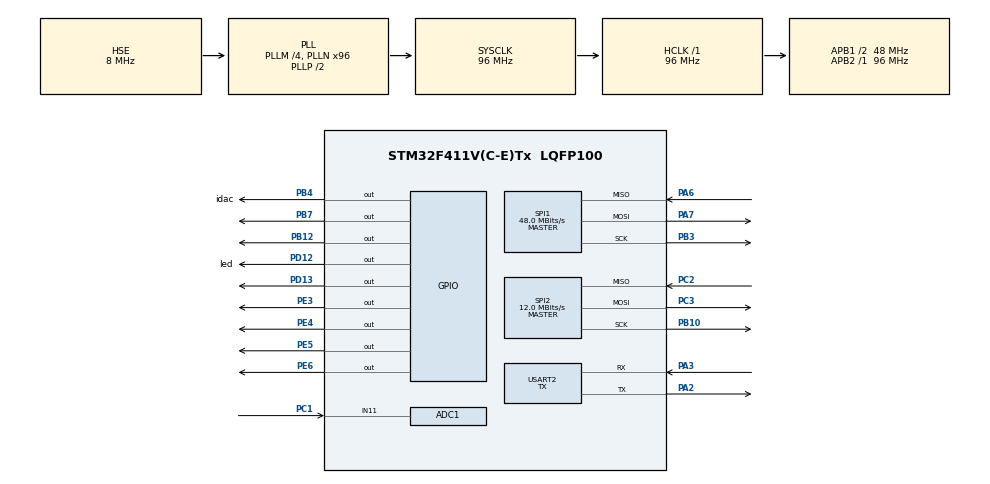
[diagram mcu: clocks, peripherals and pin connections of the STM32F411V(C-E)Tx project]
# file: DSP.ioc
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ADC1.Channel-1\#ChannelRegularConversion=ADC_CHANNEL_11
ADC1.NbrOfConversionFlag=1
ADC1.Rank-1\#ChannelRegularConversion=1
ADC1.SamplingTime-1\#ChannelRegularConversion=ADC_SAMPLETIME_3CYCLES
ADC1.master=1
Mcu.Family=STM32F4
Mcu.Name=STM32F411V(C-E)Tx
Mcu.Package=LQFP100
NVIC.PriorityGroup=NVIC_PRIORITYGROUP_4
NVIC.SPI2_IRQn=true\:0\:0\:false\:false\:true\:true\:true\:true
NVIC.TIM3_IRQn=true\:0\:0\:false\:false\:true\:true\:true\:true
PA13.Mode=Serial_Wire
PA13.Signal=SYS_JTMS-SWDIO
PA14.Mode=Serial_Wire
PA14.Signal=SYS_JTCK-SWCLK
PA2.Mode=Asynchronous
PA2.Signal=USART2_TX
PA3.Mode=Asynchronous
PA3.Signal=USART2_RX
PA6.Mode=Full_Duplex_Master
PA6.Signal=SPI1_MISO
PA7.Mode=Full_Duplex_Master
PA7.Signal=SPI1_MOSI
PB10.Mode=Full_Duplex_Master
PB10.Signal=SPI2_SCK
PB12.Signal=GPIO_Output
PB3.Mode=Full_Duplex_Master
PB3.Signal=SPI1_SCK
PB4.GPIO_Label=idac
PB4.Signal=GPIO_Output
PB7.Signal=GPIO_Output
PC1.Signal=ADCx_IN11
PC14-OSC32_IN.Mode=LSE-External-Oscillator
PC14-OSC32_IN.Signal=RCC_OSC32_IN
PC15-OSC32_OUT.Mode=LSE-External-Oscillator
PC15-OSC32_OUT.Signal=RCC_OSC32_OUT
PC2.Mode=Full_Duplex_Master
PC2.Signal=SPI2_MISO
PC3.Mode=Full_Duplex_Master
PC3.Signal=SPI2_MOSI
PD12.GPIO_Label=led
PD12.Signal=GPIO_Output
PD13.Signal=GPIO_Output
PE3.Signal=GPIO_Output
PE4.Signal=GPIO_Output
PE5.Signal=GPIO_Output
PE6.Signal=GPIO_Output
PH0\ -\ OSC_IN.Mode=HSE-External-Oscillator
PH0\ -\ OSC_IN.Signal=RCC_OSC_IN
PH1\ -\ OSC_OUT.Mode=HSE-External-Oscillator
PH1\ -\ OSC_OUT.Signal=RCC_OSC_OUT
ProjectManager.HeapSize=0x200
ProjectManager.StackSize=0x400
ProjectManager.TargetToolchain=STM32CubeIDE
RCC.48MHZClocksFreq_Value=48000000
RCC.AHBFreq_Value=96000000
RCC.APB1CLKDivider=RCC_HCLK_DIV2
RCC.APB1Freq_Value=48000000
RCC.APB1TimFreq_Value=96000000
RCC.APB2Freq_Value=96000000
RCC.APB2TimFreq_Value=96000000
RCC.CortexFreq_Value=96000000
RCC.HCLKFreq_Value=96000000
RCC.HSE_VALUE=8000000
RCC.HSI_VALUE=16000000
RCC.PLLM=4
RCC.PLLN=96
RCC.PLLSourceVirtual=RCC_PLLSOURCE_HSE
RCC.SYSCLKFreq_VALUE=96000000
RCC.SYSCLKSource=RCC_SYSCLKSOURCE_PLLCLK
RCC.VCOOutputFreq_Value=192000000
SH.ADCx_IN11.0=ADC1_IN11,IN11
SPI1.CalculateBaudRate=48.0 MBits/s
SPI1.Direction=SPI_DIRECTION_2LINES
SPI1.Mode=SPI_MODE_MASTER
SPI1.VirtualType=VM_MASTER
SPI2.BaudRatePrescaler=SPI_BAUDRATEPRESCALER_4
SPI2.CalculateBaudRate=12.0 MBits/s
SPI2.Direction=SPI_DIRECTION_2LINES
SPI2.Mode=SPI_MODE_MASTER
SPI2.VirtualType=VM_MASTER
TIM3.Period=2000-1
TIM3.Prescaler=2-1
USART2.Mode=MODE_TX
USART2.VirtualMode=VM_ASYNC
VP_TIM3_VS_ClockSourceINT.Mode=Internal
board=custom

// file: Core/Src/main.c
/* USER CODE BEGIN Header */
/**
  ******************************************************************************
  * @file           : main.c
  * @brief          : Main program body
  ******************************************************************************
  * @attention
  *
  * Copyright (c) 2022 STMicroelectronics.
  * All rights reserved.
  *
  * This software is licensed under terms that can be found in the LICENSE file
  * in the root directory of this software component.
  * If no LICENSE file comes with this software, it is provided AS-IS.
  *
  ******************************************************************************
  */
/* USER CODE END Header */
#include "main.h"

/* USER CODE BEGIN Includes */
#include "header.h"
#include  <math.h>
/* USER CODE END Includes */

/* USER CODE BEGIN PTD */
//void Put_DA(unsigned char channel,unsigned short load);
//uint32_t DWT_Delay_Init(void);
//__STATIC_INLINE void DWT_Delay_us(volatile uint32_t au32_microseconds);
//void Put__DA(unsigned short chan_A,unsigned short chan_B);
/* USER CODE END PTD */

ADC_HandleTypeDef hadc1;

SPI_HandleTypeDef hspi1;
SPI_HandleTypeDef hspi2;

TIM_HandleTypeDef htim3;

UART_HandleTypeDef huart2;

/* USER CODE BEGIN PV */
float cosinus[BUFFERSIZE];
float sinus[BUFFERSIZE];
float window[BUFFERSIZE];
char flag = 0;

int adc_values[BUFFERSIZE];
/* USER CODE END PV */

void SystemClock_Config(void);
static void MX_GPIO_Init(void);
static void MX_USART2_UART_Init(void);
static void MX_TIM3_Init(void);
static void MX_ADC1_Init(void);
static void MX_SPI1_Init(void);
static void MX_SPI2_Init(void);

int main(void)
{
  /* USER CODE BEGIN 1 */
	CreateWaves();
  /* USER CODE END 1 */

  /* MCU Configuration--------------------------------------------------------*/

  /* Reset of all peripherals, Initializes the Flash interface and the Systick. */
  HAL_Init();

  /* Configure the system clock */
  SystemClock_Config();

  /* Initialize all configured peripherals */
  MX_GPIO_Init();
  MX_USART2_UART_Init();
  MX_TIM3_Init();
  MX_ADC1_Init();
  MX_SPI1_Init();
  MX_SPI2_Init();
  /* USER CODE BEGIN 2 */

  // ADC start
  HAL_ADC_Start(&hadc1);

  HAL_TIM_Base_Start_IT(&htim3);

  Set_sample_frequency(TIMERFREQ);

  UART_string("Ended startup \n");
  // Timer start
  /* USER CODE END 2 */

  /* Infinite loop */
  while (1)
  {

    /* USER CODE BEGIN 3 */
	HAL_Delay(10);
	SPI_send_byte();
	if(flag)
	{
		flag = 0;
//		callFFT(adc_values, magnitude, BUFFERSIZE);
//		DFT();
//		unsigned char byte = 14;
//		HAL_SPI_Transmit_IT(&hspi2, &byte, 1);
//		SPI_send_byte();
	}
  }
  /* USER CODE END 3 */
}

void SystemClock_Config(void)
{
  RCC_OscInitTypeDef RCC_OscInitStruct = {0};
  RCC_ClkInitTypeDef RCC_ClkInitStruct = {0};

  /** Configure the main internal regulator output voltage
  */
  __HAL_RCC_PWR_CLK_ENABLE();
  __HAL_PWR_VOLTAGESCALING_CONFIG(PWR_REGULATOR_VOLTAGE_SCALE1);

  /** Initializes the RCC Oscillators according to the specified parameters
  * in the RCC_OscInitTypeDef structure.
  */
  RCC_OscInitStruct.OscillatorType = RCC_OSCILLATORTYPE_HSE;
  RCC_OscInitStruct.HSEState = RCC_HSE_ON;
  RCC_OscInitStruct.PLL.PLLState = RCC_PLL_ON;
  RCC_OscInitStruct.PLL.PLLSource = RCC_PLLSOURCE_HSE;
  RCC_OscInitStruct.PLL.PLLM = 4;
  RCC_OscInitStruct.PLL.PLLN = 96;
  RCC_OscInitStruct.PLL.PLLP = RCC_PLLP_DIV2;
  RCC_OscInitStruct.PLL.PLLQ = 4;
  if (HAL_RCC_OscConfig(&RCC_OscInitStruct) != HAL_OK)
  {
    Error_Handler();
  }

  /** Initializes the CPU, AHB and APB buses clocks
  */
  RCC_ClkInitStruct.ClockType = RCC_CLOCKTYPE_HCLK|RCC_CLOCKTYPE_SYSCLK
                              |RCC_CLOCKTYPE_PCLK1|RCC_CLOCKTYPE_PCLK2;
  RCC_ClkInitStruct.SYSCLKSource = RCC_SYSCLKSOURCE_PLLCLK;
  RCC_ClkInitStruct.AHBCLKDivider = RCC_SYSCLK_DIV1;
  RCC_ClkInitStruct.APB1CLKDivider = RCC_HCLK_DIV2;
  RCC_ClkInitStruct.APB2CLKDivider = RCC_HCLK_DIV1;

  if (HAL_RCC_ClockConfig(&RCC_ClkInitStruct, FLASH_LATENCY_3) != HAL_OK)
  {
    Error_Handler();
  }
}

static void MX_ADC1_Init(void)
{

  ADC_ChannelConfTypeDef sConfig = {0};

  /** Configure the global features of the ADC (Clock, Resolution, Data Alignment and number of conversion)
  */
  hadc1.Instance = ADC1;
  hadc1.Init.ClockPrescaler = ADC_CLOCK_SYNC_PCLK_DIV4;
  hadc1.Init.Resolution = ADC_RESOLUTION_12B;
  hadc1.Init.ScanConvMode = DISABLE;
  hadc1.Init.ContinuousConvMode = DISABLE;
  hadc1.Init.DiscontinuousConvMode = DISABLE;
  hadc1.Init.ExternalTrigConvEdge = ADC_EXTERNALTRIGCONVEDGE_NONE;
  hadc1.Init.ExternalTrigConv = ADC_SOFTWARE_START;
  hadc1.Init.DataAlign = ADC_DATAALIGN_RIGHT;
  hadc1.Init.NbrOfConversion = 1;
  hadc1.Init.DMAContinuousRequests = DISABLE;
  hadc1.Init.EOCSelection = ADC_EOC_SINGLE_CONV;
  if (HAL_ADC_Init(&hadc1) != HAL_OK)
  {
    Error_Handler();
  }

  /** Configure for the selected ADC regular channel its corresponding rank in the sequencer and its sample time.
  */
  sConfig.Channel = ADC_CHANNEL_11;
  sConfig.Rank = 1;
  sConfig.SamplingTime = ADC_SAMPLETIME_3CYCLES;
  if (HAL_ADC_ConfigChannel(&hadc1, &sConfig) != HAL_OK)
  {
    Error_Handler();
  }

}

static void MX_SPI1_Init(void)
{

  /* SPI1 parameter configuration*/
  hspi1.Instance = SPI1;
  hspi1.Init.Mode = SPI_MODE_MASTER;
  hspi1.Init.Direction = SPI_DIRECTION_2LINES;
  hspi1.Init.DataSize = SPI_DATASIZE_8BIT;
  hspi1.Init.CLKPolarity = SPI_POLARITY_LOW;
  hspi1.Init.CLKPhase = SPI_PHASE_1EDGE;
  hspi1.Init.NSS = SPI_NSS_SOFT;
  hspi1.Init.BaudRatePrescaler = SPI_BAUDRATEPRESCALER_2;
  hspi1.Init.FirstBit = SPI_FIRSTBIT_MSB;
  hspi1.Init.TIMode = SPI_TIMODE_DISABLE;
  hspi1.Init.CRCCalculation = SPI_CRCCALCULATION_DISABLE;
  hspi1.Init.CRCPolynomial = 10;
  if (HAL_SPI_Init(&hspi1) != HAL_OK)
  {
    Error_Handler();
  }

}

static void MX_SPI2_Init(void)
{

  /* SPI2 parameter configuration*/
  hspi2.Instance = SPI2;
  hspi2.Init.Mode = SPI_MODE_MASTER;
  hspi2.Init.Direction = SPI_DIRECTION_2LINES;
  hspi2.Init.DataSize = SPI_DATASIZE_8BIT;
  hspi2.Init.CLKPolarity = SPI_POLARITY_LOW;
  hspi2.Init.CLKPhase = SPI_PHASE_1EDGE;
  hspi2.Init.NSS = SPI_NSS_SOFT;
  hspi2.Init.BaudRatePrescaler = SPI_BAUDRATEPRESCALER_4;
  hspi2.Init.FirstBit = SPI_FIRSTBIT_MSB;
  hspi2.Init.TIMode = SPI_TIMODE_DISABLE;
  hspi2.Init.CRCCalculation = SPI_CRCCALCULATION_DISABLE;
  hspi2.Init.CRCPolynomial = 10;
  if (HAL_SPI_Init(&hspi2) != HAL_OK)
  {
    Error_Handler();
  }

}

static void MX_TIM3_Init(void)
{

  TIM_ClockConfigTypeDef sClockSourceConfig = {0};
  TIM_MasterConfigTypeDef sMasterConfig = {0};

  htim3.Instance = TIM3;
  htim3.Init.Prescaler = 2-1;
  htim3.Init.CounterMode = TIM_COUNTERMODE_UP;
  htim3.Init.Period = 2000-1;
  htim3.Init.ClockDivision = TIM_CLOCKDIVISION_DIV1;
  htim3.Init.AutoReloadPreload = TIM_AUTORELOAD_PRELOAD_DISABLE;
  if (HAL_TIM_Base_Init(&htim3) != HAL_OK)
  {
    Error_Handler();
  }
  sClockSourceConfig.ClockSource = TIM_CLOCKSOURCE_INTERNAL;
  if (HAL_TIM_ConfigClockSource(&htim3, &sClockSourceConfig) != HAL_OK)
  {
    Error_Handler();
  }
  sMasterConfig.MasterOutputTrigger = TIM_TRGO_RESET;
  sMasterConfig.MasterSlaveMode = TIM_MASTERSLAVEMODE_DISABLE;
  if (HAL_TIMEx_MasterConfigSynchronization(&htim3, &sMasterConfig) != HAL_OK)
  {
    Error_Handler();
  }

}

static void MX_USART2_UART_Init(void)
{

  huart2.Instance = USART2;
  huart2.Init.BaudRate = 115200;
  huart2.Init.WordLength = UART_WORDLENGTH_8B;
  huart2.Init.StopBits = UART_STOPBITS_1;
  huart2.Init.Parity = UART_PARITY_NONE;
  huart2.Init.Mode = UART_MODE_TX;
  huart2.Init.HwFlowCtl = UART_HWCONTROL_NONE;
  huart2.Init.OverSampling = UART_OVERSAMPLING_16;
  if (HAL_UART_Init(&huart2) != HAL_OK)
  {
    Error_Handler();
  }

}

static void MX_GPIO_Init(void)
{
  GPIO_InitTypeDef GPIO_InitStruct = {0};

  /* GPIO Ports Clock Enable */
  __HAL_RCC_GPIOE_CLK_ENABLE();
  __HAL_RCC_GPIOC_CLK_ENABLE();
  __HAL_RCC_GPIOH_CLK_ENABLE();
  __HAL_RCC_GPIOA_CLK_ENABLE();
  __HAL_RCC_GPIOB_CLK_ENABLE();
  __HAL_RCC_GPIOD_CLK_ENABLE();

  /*Configure GPIO pin Output Level */
  HAL_GPIO_WritePin(GPIOE, GPIO_PIN_3|GPIO_PIN_4|GPIO_PIN_5|GPIO_PIN_6, GPIO_PIN_RESET);

  /*Configure GPIO pin Output Level */
  HAL_GPIO_WritePin(GPIOB, GPIO_PIN_12|idac_Pin|GPIO_PIN_7, GPIO_PIN_RESET);

  /*Configure GPIO pin Output Level */
  HAL_GPIO_WritePin(GPIOD, led_Pin|GPIO_PIN_13, GPIO_PIN_RESET);

  /*Configure GPIO pins : PE3 PE4 PE5 PE6 */
  GPIO_InitStruct.Pin = GPIO_PIN_3|GPIO_PIN_4|GPIO_PIN_5|GPIO_PIN_6;
  GPIO_InitStruct.Mode = GPIO_MODE_OUTPUT_PP;
  GPIO_InitStruct.Pull = GPIO_NOPULL;
  GPIO_InitStruct.Speed = GPIO_SPEED_FREQ_LOW;
  HAL_GPIO_Init(GPIOE, &GPIO_InitStruct);

  /*Configure GPIO pins : PB12 idac_Pin PB7 */
  GPIO_InitStruct.Pin = GPIO_PIN_12|idac_Pin|GPIO_PIN_7;
  GPIO_InitStruct.Mode = GPIO_MODE_OUTPUT_PP;
  GPIO_InitStruct.Pull = GPIO_NOPULL;
  GPIO_InitStruct.Speed = GPIO_SPEED_FREQ_LOW;
  HAL_GPIO_Init(GPIOB, &GPIO_InitStruct);

  /*Configure GPIO pins : led_Pin PD13 */
  GPIO_InitStruct.Pin = led_Pin|GPIO_PIN_13;
  GPIO_InitStruct.Mode = GPIO_MODE_OUTPUT_PP;
  GPIO_InitStruct.Pull = GPIO_NOPULL;
  GPIO_InitStruct.Speed = GPIO_SPEED_FREQ_LOW;
  HAL_GPIO_Init(GPIOD, &GPIO_InitStruct);

}

/* USER CODE BEGIN 4 */

/*******************************************************************/
/*   put_DA written by J.F. van der Bent
 *   2 aguments 0 -> select channel A 1 select channel B
 *   load 0-4096
 *   no return
 *   uses DWT_Delay_us function for holdoff LDAC
 *   date 12 sept 2022
 *   version 1.0
 */
void Put_DA(unsigned char channel,unsigned short load)
{
	 unsigned char data[2]={0x30,0x00}; // default unbuffered | Gain 1x |  active mode
	 data[1] = load & 0x00FF;
	 data[0] = data[0]|(load & 0x0F00)>>8;
	 unsigned char *point = data ; // place truncated load over both bytes

	 if (channel)
		 {
		 data[0] = data[0]|1<<7;			// set bit 7 default channel A if set channel B
		 }

	 HAL_GPIO_WritePin(SS1_GPIO_Port, SS1_Pin, GPIO_PIN_RESET);
	 HAL_SPI_Transmit(&hspi1, point, 2, 1000);	// send DA data over SPI
	 HAL_GPIO_WritePin(GPIOB, ldac_Pin, GPIO_PIN_RESET);
//	 DWT_Delay_us(10);		// settling time signal + PCB cap
//	 HAL_Delay(5);
	 HAL_GPIO_WritePin(GPIOB, ldac_Pin, GPIO_PIN_SET);
	 HAL_GPIO_WritePin(SS1_GPIO_Port, SS1_Pin, GPIO_PIN_SET);

}

/*******************************************************************/
/*   put__DA written by J.F. van der Bent
 *   2 aguments  channel A load 0-4095 channel B load 0-4095
 *   no output
 *   uses DWT_Delay_us function for holdoff LDAC
 *   date 12 sept 2022
 *   version 1.0
 */
void Put__DA(unsigned short chan_A,unsigned short chan_B) // both channels
{
	 unsigned char data_A[2]={0x30,0x00}; // default unbuffered | Gain 1x |  active mode
	 unsigned char data_B[2]={0x30,0x00}; // default unbuffered | Gain 1x |  active mode

	 	 data_A[1] = chan_A & 0x00FF;
		 data_A[0] = data_A[0]|(chan_A & 0x0F00)>>8;
		 unsigned char *point_A = data_A ; // place truncated load over both bytes
		 data_B[1] = chan_B & 0x00FF;
		 data_B[0] = data_B[0]|(chan_B & 0x0F00)>>8;
		 unsigned char *point_B = data_B ; // place truncated load over both bytes

		 data_B[0] = data_B[0]|1<<7;			// Select channel B

		 HAL_GPIO_WritePin(SS1_GPIO_Port, SS1_Pin, GPIO_PIN_RESET);
		 HAL_SPI_Transmit(&hspi1, point_A, 2, 1000);	// send DA data over SPI
		 HAL_GPIO_WritePin(SS1_GPIO_Port, SS1_Pin, GPIO_PIN_SET);
		 HAL_GPIO_WritePin(SS1_GPIO_Port, SS1_Pin, GPIO_PIN_RESET);
		 HAL_SPI_Transmit(&hspi1, point_B, 2, 1000);	// send DA data over SPI
		 HAL_GPIO_WritePin(SS1_GPIO_Port, SS1_Pin, GPIO_PIN_SET);

		 HAL_GPIO_WritePin(GPIOB, ldac_Pin, GPIO_PIN_RESET);
		 DWT_Delay_us(10);		// settling time signal + PCB cap
		 HAL_GPIO_WritePin(GPIOB, ldac_Pin, GPIO_PIN_SET);

}
//void DWT_Delay_us(volatile uint32_t au32_microseconds)
//{
//  uint32_t au32_initial_ticks = DWT->CYCCNT;
//  uint32_t au32_ticks = (HAL_RCC_GetHCLKFreq() / 1000000);
//  au32_microseconds *= au32_ticks;
//  while ((DWT->CYCCNT - au32_initial_ticks) < au32_microseconds-au32_ticks);
//}
//uint32_t DWT_Delay_Init(void)
//{
//    /* Disable TRC */
//    CoreDebug->DEMCR &= ~CoreDebug_DEMCR_TRCENA_Msk; // ~0x01000000;
//    /* Enable TRC */
//    CoreDebug->DEMCR |=  CoreDebug_DEMCR_TRCENA_Msk; // 0x01000000;
//
//    /* Disable clock cycle counter */
//    DWT->CTRL &= ~DWT_CTRL_CYCCNTENA_Msk; //~0x00000001;
//    /* Enable  clock cycle counter */
//    DWT->CTRL |=  DWT_CTRL_CYCCNTENA_Msk; //0x00000001;
//
//    /* Reset the clock cycle counter value */
//    DWT->CYCCNT = 0;
//
//    /* 3 NO OPERATION instructions */
//    __ASM volatile ("NOP");
//    __ASM volatile ("NOP");
//    __ASM volatile ("NOP");
//
//    /* Check if clock cycle counter has started */
//    if(DWT->CYCCNT)
//    {
//       return 0; /*clock cycle counter started*/
//    }
//    else
//    {
//      return 1; /*clock cycle counter not started*/
//    }
//}
/* USER CODE END 4 */

void Error_Handler(void)
{
  __disable_irq();
  while (1)
  {
  }
}
